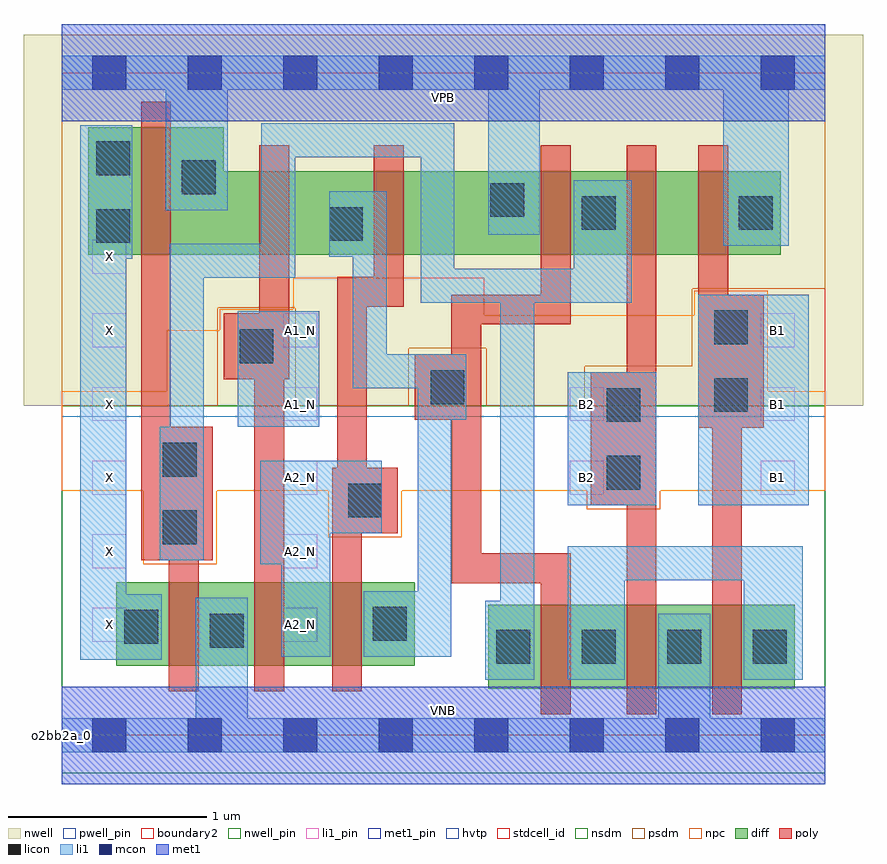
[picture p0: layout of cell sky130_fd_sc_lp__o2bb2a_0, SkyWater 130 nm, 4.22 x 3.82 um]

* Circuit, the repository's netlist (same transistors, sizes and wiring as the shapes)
* Copyright 2020 The SkyWater PDK Authors
*
* Licensed under the Apache License, Version 2.0 (the "License");
* you may not use this file except in compliance with the License.
* You may obtain a copy of the License at
*
*     https://www.apache.org/licenses/LICENSE-2.0
*
* Unless required by applicable law or agreed to in writing, software
* distributed under the License is distributed on an "AS IS" BASIS,
* WITHOUT WARRANTIES OR CONDITIONS OF ANY KIND, either express or implied.
* See the License for the specific language governing permissions and
* limitations under the License.
*
* SPDX-License-Identifier: Apache-2.0

.SUBCKT sky130_fd_sc_lp__o2bb2a_0 A1_N A2_N B1 B2 VGND VNB VPB VPWR X
*.PININFO A1_N:I A2_N:I B1:I B2:I VGND:I VNB:I VPB:I VPWR:I X:O
MMIN2 X y VGND VNB sky130_fd_pr__nfet_01v8 m=1 w=0.42U l=0.15U mult=1 sa=0.265
+ sb=0.265 sd=0.28 area=0.063 perim=1.14
MMNnand0 VGND A1_N sndNA1N VNB sky130_fd_pr__nfet_01v8 m=1 w=0.42U l=0.15U mult=1
+ sa=0.265 sb=0.265 sd=0.28 area=0.063 perim=1.14
MMNnand1 sndNA1N A2_N inand VNB sky130_fd_pr__nfet_01v8 m=1 w=0.42U l=0.15U mult=1
+ sa=0.265 sb=0.265 sd=0.28 area=0.063 perim=1.14
MMNaoi10 nmid B1 VGND VNB sky130_fd_pr__nfet_01v8 m=1 w=0.42U l=0.15U mult=1 sa=0.265
+ sb=0.265 sd=0.28 area=0.063 perim=1.14
MMNaoi11 nmid B2 VGND VNB sky130_fd_pr__nfet_01v8 m=1 w=0.42U l=0.15U mult=1 sa=0.265
+ sb=0.265 sd=0.28 area=0.063 perim=1.14
MMNaoi20 y inand nmid VNB sky130_fd_pr__nfet_01v8 m=1 w=0.42U l=0.15U mult=1 sa=0.265
+ sb=0.265 sd=0.28 area=0.063 perim=1.14
MMIP2 X y VPWR VPB sky130_fd_pr__pfet_01v8_hvt m=1 w=0.64U l=0.15U mult=1 sa=0.265
+ sb=0.265 sd=0.28 area=0.063 perim=1.14
MMPnand0 inand A1_N VPWR VPB sky130_fd_pr__pfet_01v8_hvt m=1 w=0.42U l=0.15U mult=1
+ sa=0.265 sb=0.265 sd=0.28 area=0.063 perim=1.14
MMPnand1 inand A2_N VPWR VPB sky130_fd_pr__pfet_01v8_hvt m=1 w=0.42U l=0.15U mult=1
+ sa=0.265 sb=0.265 sd=0.28 area=0.063 perim=1.14
MMPaoi10 VPWR B1 sndPB1 VPB sky130_fd_pr__pfet_01v8_hvt m=1 w=0.42U l=0.15U mult=1
+ sa=0.265 sb=0.265 sd=0.28 area=0.063 perim=1.14
MMPaoi11 sndPB1 B2 y VPB sky130_fd_pr__pfet_01v8_hvt m=1 w=0.42U l=0.15U mult=1
+ sa=0.265 sb=0.265 sd=0.28 area=0.063 perim=1.14
MMPaoi20 y inand VPWR VPB sky130_fd_pr__pfet_01v8_hvt m=1 w=0.42U l=0.15U mult=1
+ sa=0.265 sb=0.265 sd=0.28 area=0.063 perim=1.14
.ENDS sky130_fd_sc_lp__o2bb2a_0

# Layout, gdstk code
import gdstk
lib = gdstk.Library(unit=1e-6, precision=1e-09)
def R(c, l, rs):  # rectangles x0, y0, x1, y1
    for r in rs: c.add(gdstk.rectangle(r[:2], r[2:], *l))
def A(c, l, x, y, w, h, nx, ny, dx, dy):  # array of equal rectangles
    R(c, l, [(x+i*dx, y+j*dy, x+i*dx+w, y+j*dy+h) for i in range(nx) for j in range(ny)])
def P(c, l, *ps):  # polygons
    for p in ps: c.add(gdstk.Polygon(p, *l))
nwell_pin = (64, 16)
nwell = (64, 20)
diff = (65, 20)
poly = (66, 20)
licon = (66, 44)
li1_pin = (67, 16)
li1 = (67, 20)
mcon = (67, 44)
met1_pin = (68, 16)
met1 = (68, 20)
hvtp = (78, 44)
stdcell_id = (81, 4)
nsdm = (93, 44)
psdm = (94, 20)
npc = (95, 20)
pwell_pin = (122, 16)
boundary2 = (236, 0)

sky130_fd_sc_lp__o2bb2a_ = lib.new_cell('sky130_fd_sc_lp__o2bb2a_0')
R(sky130_fd_sc_lp__o2bb2a_, nwell_pin, [(0,3.085,3.84,3.33)])
R(sky130_fd_sc_lp__o2bb2a_, nwell, [(-0.19,1.655,4.03,3.52)])
R(sky130_fd_sc_lp__o2bb2a_, diff, [(2.145,0.235,3.685,0.655), (0.275,0.35,1.775,0.77)])
P(sky130_fd_sc_lp__o2bb2a_, diff, [(3.615,2.835),(0.815,2.835),(0.815,3.055),(0.135,3.055),(0.135,2.415),(3.615,2.415)])
P(sky130_fd_sc_lp__o2bb2a_, poly, [(0.76,1.55),(0.55,1.55),(0.55,3.185),(0.4,3.185),(0.4,0.88),(0.54,0.88),(0.54,0.22),(0.69,0.22),(0.69,0.88),(0.76,0.88)],
  [(1.145,2.965),(0.995,2.965),(0.995,2.12),(0.815,2.12),(0.815,1.79),(0.97,1.79),(0.97,0.22),(1.12,0.22),(1.12,1.79),(1.145,1.79)],
  [(1.72,2.965),(1.57,2.965),(1.57,2.305),(1.385,2.305),(1.385,1.345),(1.36,1.345),(1.36,0.22),(1.51,0.22),(1.51,1.015),(1.69,1.015),(1.69,1.345),(1.535,1.345),(1.535,2.155),(1.72,2.155)],
  [(2.56,0.915),(2.11,0.915),(2.11,2.065),(2.56,2.065),(2.56,2.965),(2.41,2.965),(2.41,2.215),(1.96,2.215),(1.96,1.915),(1.775,1.915),(1.775,1.585),(1.96,1.585),(1.96,0.765),(2.41,0.765),(2.41,0.105),(2.56,0.105)],
  [(2.99,2.965),(2.84,2.965),(2.84,1.825),(2.66,1.825),(2.66,1.155),(2.84,1.155),(2.84,0.105),(2.99,0.105)],
  [(3.53,2.215),(3.35,2.215),(3.35,2.965),(3.2,2.965),(3.2,1.545),(3.27,1.545),(3.27,0.105),(3.42,0.105),(3.42,1.545),(3.53,1.545)])
A(sky130_fd_sc_lp__o2bb2a_, licon, 2.185, 0.36, 0.17, 0.17, 4, 1, 0.43, 0)
R(sky130_fd_sc_lp__o2bb2a_, licon, [(0.745,0.44,0.915,0.61), (0.315,0.46,0.485,0.63), (1.565,0.475,1.735,0.645), (0.51,0.96,0.68,1.13), (1.44,1.095,1.61,1.265), (2.74,1.235,2.91,1.405), (0.51,1.3,0.68,1.47), (2.74,1.575,2.91,1.745), (3.28,1.625,3.45,1.795), (1.855,1.665,2.025,1.835), (0.895,1.87,1.065,2.04), (3.28,1.965,3.45,2.135), (0.175,2.475,0.345,2.645), (1.345,2.485,1.515,2.655), (2.615,2.54,2.785,2.71), (3.405,2.54,3.575,2.71), (2.155,2.605,2.325,2.775), (0.605,2.72,0.775,2.89), (0.175,2.815,0.345,2.985)])
A(sky130_fd_sc_lp__o2bb2a_, li1_pin, 0.155, 0.47, 0.17, 0.17, 1, 6, 0, 0.37)
A(sky130_fd_sc_lp__o2bb2a_, li1_pin, 1.115, 0.47, 0.17, 0.17, 1, 5, 0, 0.37)
A(sky130_fd_sc_lp__o2bb2a_, li1_pin, 3.515, 1.21, 0.17, 0.17, 1, 3, 0, 0.37)
R(sky130_fd_sc_lp__o2bb2a_, li1_pin, [(2.555,1.21,2.725,1.38), (2.555,1.58,2.725,1.75)])
R(sky130_fd_sc_lp__o2bb2a_, li1, [(2.545,1.155,2.99,1.825), (3.2,1.155,3.755,2.215), (0.885,1.55,1.295,2.13)])
P(sky130_fd_sc_lp__o2bb2a_, li1, [(3.325,2.46),(3.325,3.245),(2.405,3.245),(2.405,2.515),(2.145,2.515),(2.145,3.245),(0.835,3.245),(0.835,2.64),(0.525,2.64),(0.525,3.245),(0,3.245),(0,3.415),(3.84,3.415),(3.84,3.245),(3.655,3.245),(3.655,2.46)],
  [(3,0.085),(3,0.61),(3.26,0.61),(3.26,0.085),(3.84,0.085),(3.84,-0.085),(0,-0.085),(0,0.085),(0.675,0.085),(0.675,0.69),(0.935,0.69),(0.935,0.085)],
  [(2.13,0.28),(2.13,0.675),(2.205,0.675),(2.205,2.175),(1.805,2.175),(1.805,2.905),(1.175,2.905),(1.175,2.3),(0.715,2.3),(0.715,0.88),(0.495,0.88),(0.495,1.55),(0.545,1.55),(0.545,2.47),(1.005,2.47),(1.005,3.075),(1.975,3.075),(1.975,2.345),(2.575,2.345),(2.575,2.79),(2.865,2.79),(2.865,2.175),(2.375,2.175),(2.375,0.28)],
  [(1.345,2.405),(1.345,2.735),(1.635,2.735),(1.635,1.915),(2.035,1.915),(2.035,1.585),(1.96,1.585),(1.96,0.395),(1.52,0.395),(1.52,0.725),(1.79,0.725),(1.79,1.745),(1.465,1.745),(1.465,2.405)],
  [(3.43,0.28),(3.43,0.78),(2.83,0.78),(2.83,0.28),(2.545,0.28),(2.545,0.95),(3.725,0.95),(3.725,0.28)],
  [(0.325,2.395),(0.325,0.71),(0.505,0.71),(0.505,0.38),(0.095,0.38),(0.095,3.065),(0.355,3.065),(0.355,2.395)],
  [(1.61,1.38),(1,1.38),(1,0.86),(1.105,0.86),(1.105,0.395),(1.35,0.395),(1.35,1.015),(1.61,1.015)])
A(sky130_fd_sc_lp__o2bb2a_, mcon, 0.155, -0.085, 0.17, 0.17, 8, 2, 0.48, 3.33)
R(sky130_fd_sc_lp__o2bb2a_, met1_pin, [(0,0,3.84,0.245), (0,3.085,3.84,3.33)])
R(sky130_fd_sc_lp__o2bb2a_, met1, [(0,-0.245,3.84,0.245), (0,3.085,3.84,3.575)])
R(sky130_fd_sc_lp__o2bb2a_, hvtp, [(0,1.6,3.84,3.33)])
R(sky130_fd_sc_lp__o2bb2a_, stdcell_id, [(0,0,3.84,3.33)])
R(sky130_fd_sc_lp__o2bb2a_, nsdm, [(0,-0.19,3.84,1.655)])
P(sky130_fd_sc_lp__o2bb2a_, psdm, [(3.84,3.52),(0,3.52),(0,1.655),(0.785,1.655),(0.785,2.15),(1.175,2.15),(1.175,1.655),(1.745,1.655),(1.745,1.945),(2.135,1.945),(2.135,1.655),(2.63,1.655),(2.63,1.855),(3.17,1.855),(3.17,2.245),(3.84,2.245)])
P(sky130_fd_sc_lp__o2bb2a_, npc, [(3.84,1.73),(3.55,1.73),(3.55,2.235),(3.18,2.235),(3.18,2.11),(2.125,2.11),(2.125,2.3),(1.165,2.3),(1.165,2.14),(0.795,2.14),(0.795,2.035),(0.53,2.035),(0.53,1.73),(0,1.73),(0,1.23),(0.41,1.23),(0.41,0.86),(0.78,0.86),(0.78,1.23),(1.34,1.23),(1.34,0.995),(1.71,0.995),(1.71,1.23),(2.64,1.23),(2.64,1.135),(3.01,1.135),(3.01,1.23),(3.84,1.23)])
R(sky130_fd_sc_lp__o2bb2a_, pwell_pin, [(0,0,3.84,0.245)])
R(sky130_fd_sc_lp__o2bb2a_, boundary2, [(0,0,3.84,3.33)])
sky130_fd_sc_lp__o2bb2a_.add(gdstk.Label('VNB', (1.92,0.123), layer=64, texttype=59))
sky130_fd_sc_lp__o2bb2a_.add(gdstk.Label('VPB', (1.92,3.208), layer=64, texttype=5))
sky130_fd_sc_lp__o2bb2a_.add(gdstk.Label('o2bb2a_0', (0,0), layer=83, texttype=44))
sky130_fd_sc_lp__o2bb2a_.add(gdstk.Label('VPWR', (1.92,3.208), layer=68, texttype=5))
sky130_fd_sc_lp__o2bb2a_.add(gdstk.Label('VGND', (1.92,0.123), layer=68, texttype=5))
sky130_fd_sc_lp__o2bb2a_.add(gdstk.Label('A1_N', (1.2,1.665), layer=67, texttype=5))
sky130_fd_sc_lp__o2bb2a_.add(gdstk.Label('A1_N', (1.2,2.035), layer=67, texttype=5))
sky130_fd_sc_lp__o2bb2a_.add(gdstk.Label('B1', (3.6,1.295), layer=67, texttype=5))
sky130_fd_sc_lp__o2bb2a_.add(gdstk.Label('B1', (3.6,1.665), layer=67, texttype=5))
sky130_fd_sc_lp__o2bb2a_.add(gdstk.Label('B1', (3.6,2.035), layer=67, texttype=5))
sky130_fd_sc_lp__o2bb2a_.add(gdstk.Label('B2', (2.64,1.295), layer=67, texttype=5))
sky130_fd_sc_lp__o2bb2a_.add(gdstk.Label('B2', (2.64,1.665), layer=67, texttype=5))
sky130_fd_sc_lp__o2bb2a_.add(gdstk.Label('X', (0.24,0.555), layer=67, texttype=5))
sky130_fd_sc_lp__o2bb2a_.add(gdstk.Label('X', (0.24,0.925), layer=67, texttype=5))
sky130_fd_sc_lp__o2bb2a_.add(gdstk.Label('X', (0.24,1.295), layer=67, texttype=5))
sky130_fd_sc_lp__o2bb2a_.add(gdstk.Label('X', (0.24,1.665), layer=67, texttype=5))
sky130_fd_sc_lp__o2bb2a_.add(gdstk.Label('X', (0.24,2.035), layer=67, texttype=5))
sky130_fd_sc_lp__o2bb2a_.add(gdstk.Label('X', (0.24,2.405), layer=67, texttype=5))
sky130_fd_sc_lp__o2bb2a_.add(gdstk.Label('A2_N', (1.2,0.555), layer=67, texttype=5))
sky130_fd_sc_lp__o2bb2a_.add(gdstk.Label('A2_N', (1.2,0.925), layer=67, texttype=5))
sky130_fd_sc_lp__o2bb2a_.add(gdstk.Label('A2_N', (1.2,1.295), layer=67, texttype=5))

lib.write_gds('sky130_fd_sc_lp__o2bb2a_0.gds')
